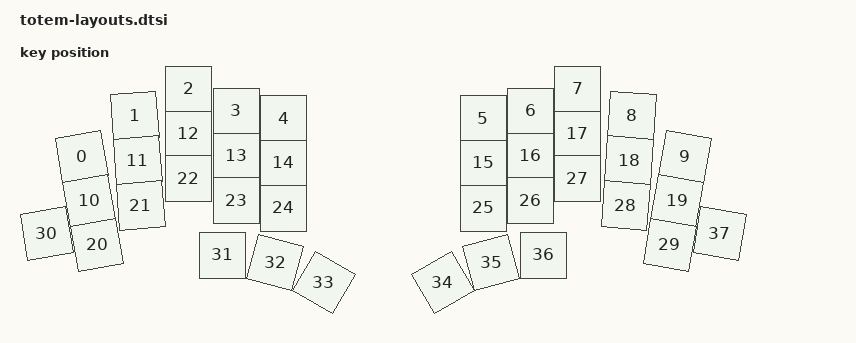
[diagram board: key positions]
#include <physical_layouts.dtsi>

/ {
totem_layout: totem_layout{
    compatible = "zmk,physical-layout";
    display-name = "TOTEM Keyboard Layout";
    transform = <&default_transform>;
    keys  //                     w   h    x    y     rot    rx    ry
    = <&key_physical_attrs 100 100   70  136 (-1000)   120   186>
    , <&key_physical_attrs 100 100  176   54  (-400)   226   104>
    , <&key_physical_attrs 100 100  284    0       0     0     0>
    , <&key_physical_attrs 100 100  379   44       0     0     0>
    , <&key_physical_attrs 100 100  474   59       0     0     0>
    , <&key_physical_attrs 100 100  873   59       0     0     0>
    , <&key_physical_attrs 100 100  968   44       0     0     0>
    , <&key_physical_attrs 100 100 1062    0       0     0     0>
    , <&key_physical_attrs 100 100 1171   54     400  1221   104>
    , <&key_physical_attrs 100 100 1277  136    1000  1327   186>
    , <&key_physical_attrs 100 100   85  224 (-1000)   135   274>
    , <&key_physical_attrs 100 100  182  143  (-400)   232   193>
    , <&key_physical_attrs 100 100  284   90       0     0     0>
    , <&key_physical_attrs 100 100  379  134       0     0     0>
    , <&key_physical_attrs 100 100  474  148       0     0     0>
    , <&key_physical_attrs 100 100  873  148       0     0     0>
    , <&key_physical_attrs 100 100  968  134       0     0     0>
    , <&key_physical_attrs 100 100 1062   90       0     0     0>
    , <&key_physical_attrs 100 100 1165  143     400  1215   193>
    , <&key_physical_attrs 100 100 1261  224    1000  1311   274>
    , <&key_physical_attrs 100 100  101  312 (-1000)   151   362>
    , <&key_physical_attrs 100 100  188  233  (-400)   238   283>
    , <&key_physical_attrs 100 100  284  179       0     0     0>
    , <&key_physical_attrs 100 100  379  223       0     0     0>
    , <&key_physical_attrs 100 100  474  238       0     0     0>
    , <&key_physical_attrs 100 100  873  238       0     0     0>
    , <&key_physical_attrs 100 100  968  223       0     0     0>
    , <&key_physical_attrs 100 100 1062  179       0     0     0>
    , <&key_physical_attrs 100 100 1158  233     400  1208   283>
    , <&key_physical_attrs 100 100 1246  312    1000  1296   362>
    , <&key_physical_attrs 100 100    0  289 (-1000)    50   339>
    , <&key_physical_attrs 100 100  352  332       0     0     0>
    , <&key_physical_attrs 100 100  457  347    1500   507   397>
    , <&key_physical_attrs 100 100  554  387    3000   604   437>
    , <&key_physical_attrs 100 100  792  387 (-3000)   842   437>
    , <&key_physical_attrs 100 100  889  347 (-1500)   939   397>
    , <&key_physical_attrs 100 100  994  332       0     0     0>
    , <&key_physical_attrs 100 100 1346  289    1000  1396   339>
    ;
};
};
